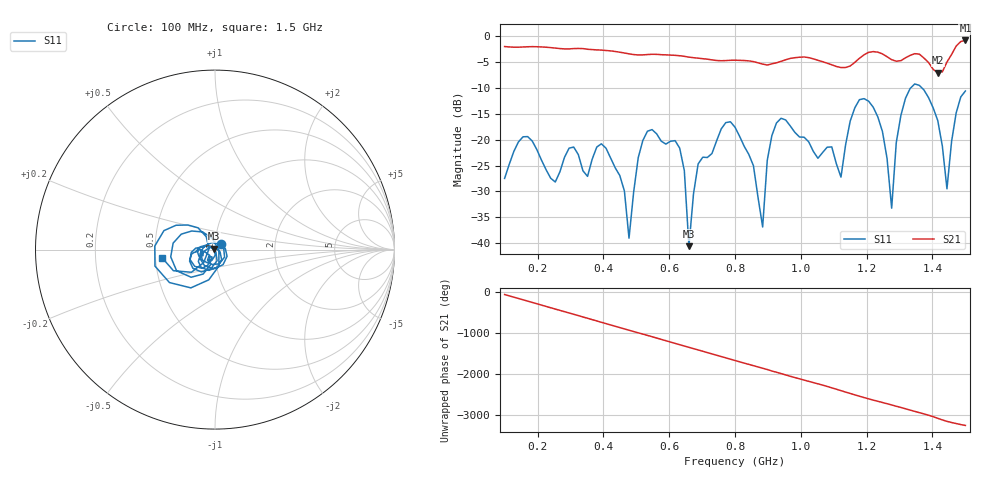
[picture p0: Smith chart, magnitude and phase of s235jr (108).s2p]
! NanoVNA-App
! Date: 2025-09-25 15:05:00
! Start: 100MHz Stop: 1,5GHz Points: 101
! S-Parameter data: F S11 S21 S12 S22
# Hz S RI R 50
!  Frequency  S11_Real  S11_Imag  S21_Real  S21_Imag  S12_Real  S12_Imag  S22_Real  S22_Imag
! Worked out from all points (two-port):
!   101 points, 100 MHz to 1.5 GHz, reference 50 ohm
!   highest |S21| = -0.78 dB at 1.5 GHz (marker M1); lowest = -7.0 dB at 1.416 GHz (marker M2)
!   |S21| within 3 dB of the highest: start of sweep to 637 MHz; 1.187 GHz to 1.258 GHz (70.8 MHz wide, 5.79 % of centre) (the widest 2 of 4)
!   lowest |S11| = -40.6 dB at 660 MHz (marker M3), VSWR 1.02, Z = 49.3 + j0.563 ohm
!   |S11| at or under -10 dB: start of sweep to 1.333 GHz; 1.368 GHz to end of sweep
!   S12 and S22 are empty: the file has one direction only
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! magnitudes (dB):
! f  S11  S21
! 100 MHz  -27.5  -2.0
! 156 MHz  -19.4  -2.0
! 338 MHz  -26.0  -2.4
! 408 MHz  -21.6  -2.7
! 478 MHz  -39.0  -3.4
! 520 MHz  -20.1  -3.6
! 576 MHz  -20.3  -3.5
! 632 MHz  -21.6  -3.7
! 660 MHz  -40.6  -4.0
! 688 MHz  -24.7  -4.2
! 800 MHz  -17.6  -4.6
! 884 MHz  -36.9  -5.3
! 926 MHz  -16.7  -5.1
! 1.038 GHz  -22.3  -4.3
! 1.122 GHz  -27.2  -6.0
! 1.206 GHz  -12.5  -3.1
! 1.276 GHz  -33.2  -4.5
! 1.29 GHz  -20.5  -4.8
! 1.332 GHz  -10.1  -3.7
! 1.416 GHz  -16.3  -7.0
! 1.444 GHz  -29.5  -5.0
! 1.5 GHz  -10.6  -0.8
